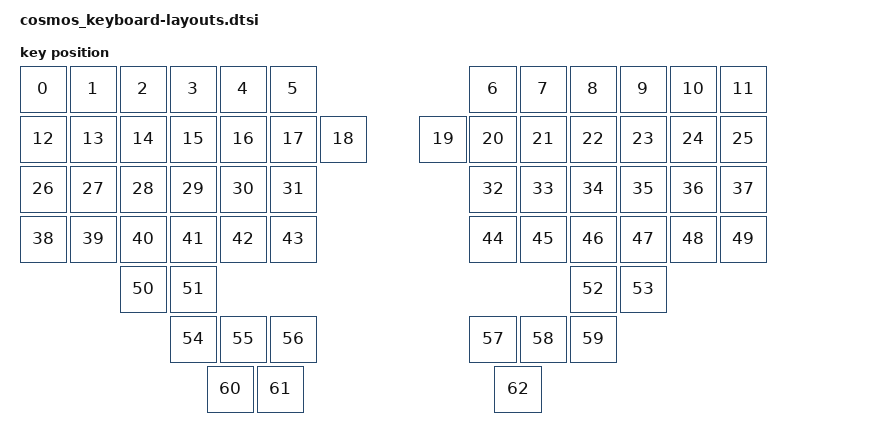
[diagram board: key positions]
#include <physical_layouts.dtsi>

/ {
    physical_layout_cosmos_keyboard: physical_layout_cosmos_keyboard {
        compatible = "zmk,physical-layout";
        display-name = "Cosmos Keyboard";
        keys  //                     w   h    x    y     rot    rx    ry
            = <&key_physical_attrs 100 100    0    0       0     0     0>
            , <&key_physical_attrs 100 100  100    0       0   100     0>
            , <&key_physical_attrs 100 100  200    0       0   200     0>
            , <&key_physical_attrs 100 100  300    0       0   300     0>
            , <&key_physical_attrs 100 100  400    0       0   400     0>
            , <&key_physical_attrs 100 100  500    0       0   500     0>
            , <&key_physical_attrs 100 100  900    0       0   900     0>
            , <&key_physical_attrs 100 100 1000    0       0  1000     0>
            , <&key_physical_attrs 100 100 1100    0       0  1100     0>
            , <&key_physical_attrs 100 100 1200    0       0  1200     0>
            , <&key_physical_attrs 100 100 1300    0       0  1300     0>
            , <&key_physical_attrs 100 100 1400    0       0  1400     0>
            , <&key_physical_attrs 100 100    0  100       0     0   100>
            , <&key_physical_attrs 100 100  100  100       0   100   100>
            , <&key_physical_attrs 100 100  200  100       0   200   100>
            , <&key_physical_attrs 100 100  300  100       0   300   100>
            , <&key_physical_attrs 100 100  400  100       0   400   100>
            , <&key_physical_attrs 100 100  500  100       0   500   100>
            , <&key_physical_attrs 100 100  600  100       0   600   100>
            , <&key_physical_attrs 100 100  800  100       0   800   100>
            , <&key_physical_attrs 100 100  900  100       0   900   100>
            , <&key_physical_attrs 100 100 1000  100       0  1000   100>
            , <&key_physical_attrs 100 100 1100  100       0  1100   100>
            , <&key_physical_attrs 100 100 1200  100       0  1200   100>
            , <&key_physical_attrs 100 100 1300  100       0  1300   100>
            , <&key_physical_attrs 100 100 1400  100       0  1400   100>
            , <&key_physical_attrs 100 100    0  200       0     0   200>
            , <&key_physical_attrs 100 100  100  200       0   100   200>
            , <&key_physical_attrs 100 100  200  200       0   200   200>
            , <&key_physical_attrs 100 100  300  200       0   300   200>
            , <&key_physical_attrs 100 100  400  200       0   400   200>
            , <&key_physical_attrs 100 100  500  200       0   500   200>
            , <&key_physical_attrs 100 100  900  200       0   900   200>
            , <&key_physical_attrs 100 100 1000  200       0  1000   200>
            , <&key_physical_attrs 100 100 1100  200       0  1100   200>
            , <&key_physical_attrs 100 100 1200  200       0  1200   200>
            , <&key_physical_attrs 100 100 1300  200       0  1300   200>
            , <&key_physical_attrs 100 100 1400  200       0  1400   200>
            , <&key_physical_attrs 100 100    0  300       0     0   300>
            , <&key_physical_attrs 100 100  100  300       0   100   300>
            , <&key_physical_attrs 100 100  200  300       0   200   300>
            , <&key_physical_attrs 100 100  300  300       0   300   300>
            , <&key_physical_attrs 100 100  400  300       0   400   300>
            , <&key_physical_attrs 100 100  500  300       0   500   300>
            , <&key_physical_attrs 100 100  900  300       0   900   300>
            , <&key_physical_attrs 100 100 1000  300       0  1000   300>
            , <&key_physical_attrs 100 100 1100  300       0  1100   300>
            , <&key_physical_attrs 100 100 1200  300       0  1200   300>
            , <&key_physical_attrs 100 100 1300  300       0  1300   300>
            , <&key_physical_attrs 100 100 1400  300       0  1400   300>
            , <&key_physical_attrs 100 100  200  400       0   200   400>
            , <&key_physical_attrs 100 100  300  400       0   300   400>
            , <&key_physical_attrs 100 100 1100  400       0  1100   400>
            , <&key_physical_attrs 100 100 1200  400       0  1200   400>
            , <&key_physical_attrs 100 100  300  500       0   300   500>
            , <&key_physical_attrs 100 100  400  500       0   400   500>
            , <&key_physical_attrs 100 100  500  500       0   500   500>
            , <&key_physical_attrs 100 100  900  500       0   900   500>
            , <&key_physical_attrs 100 100 1000  500       0  1000   500>
            , <&key_physical_attrs 100 100 1100  500       0  1100   500>
            , <&key_physical_attrs 100 100  375  600       0   375   600>
            , <&key_physical_attrs 100 100  475  600       0   475   600>
            , <&key_physical_attrs 100 100  950  600       0   950   600>
            ;
    };
};
